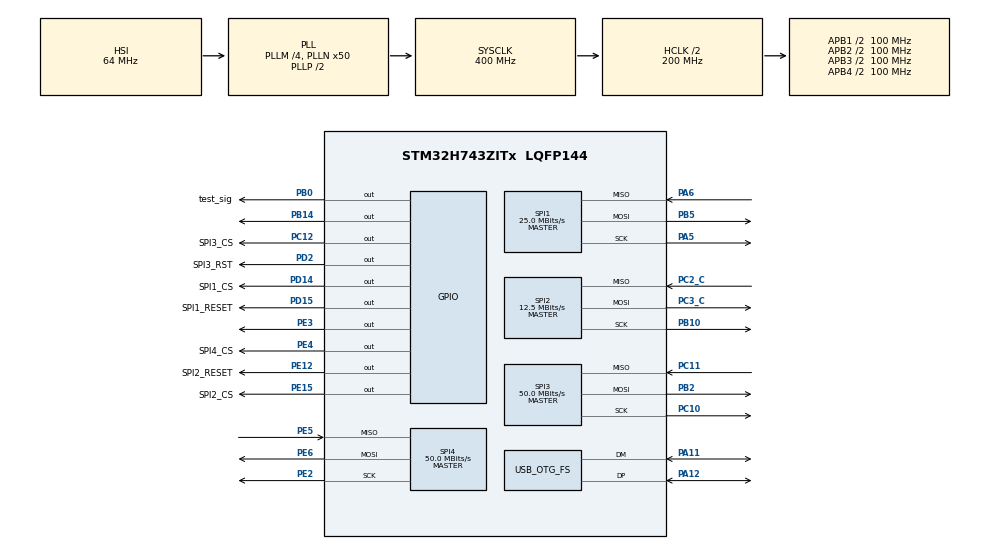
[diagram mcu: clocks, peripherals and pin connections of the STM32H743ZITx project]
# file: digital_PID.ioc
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Mcu.Family=STM32H7
Mcu.Name=STM32H743ZITx
Mcu.Package=LQFP144
NVIC.OTG_FS_IRQn=true\:0\:0\:false\:false\:true\:false\:true
NVIC.PriorityGroup=NVIC_PRIORITYGROUP_4
NVIC.SPI2_IRQn=true\:0\:0\:false\:false\:true\:true\:true
NVIC.TIM16_IRQn=true\:0\:0\:false\:false\:true\:true\:true
PA11.Mode=Device_Only
PA11.Signal=USB_OTG_FS_DM
PA12.Mode=Device_Only
PA12.Signal=USB_OTG_FS_DP
PA5.Mode=Full_Duplex_Master
PA5.Signal=SPI1_SCK
PA6.Mode=Full_Duplex_Master
PA6.Signal=SPI1_MISO
PB0.GPIO_Label=test_sig
PB0.GPIO_Speed=GPIO_SPEED_FREQ_VERY_HIGH
PB0.Signal=GPIO_Output
PB10.Mode=Full_Duplex_Master
PB10.Signal=SPI2_SCK
PB14.Signal=GPIO_Output
PB2.Mode=Full_Duplex_Master
PB2.Signal=SPI3_MOSI
PB5.Mode=Full_Duplex_Master
PB5.Signal=SPI1_MOSI
PC10.Mode=Full_Duplex_Master
PC10.Signal=SPI3_SCK
PC11.Mode=Full_Duplex_Master
PC11.Signal=SPI3_MISO
PC12.GPIO_Label=SPI3_CS
PC12.Signal=GPIO_Output
PC2_C.Mode=Full_Duplex_Master
PC2_C.Signal=SPI2_MISO
PC3_C.Mode=Full_Duplex_Master
PC3_C.Signal=SPI2_MOSI
PD14.GPIO_Label=SPI1_CS
PD14.GPIO_Speed=GPIO_SPEED_FREQ_VERY_HIGH
PD14.Signal=GPIO_Output
PD15.GPIO_Label=SPI1_RESET
PD15.Signal=GPIO_Output
PD2.GPIO_Label=SPI3_RST
PD2.Signal=GPIO_Output
PE12.GPIO_Label=SPI2_RESET
PE12.Signal=GPIO_Output
PE15.GPIO_Label=SPI2_CS
PE15.GPIO_Speed=GPIO_SPEED_FREQ_VERY_HIGH
PE15.Signal=GPIO_Output
PE2.Mode=Full_Duplex_Master
PE2.Signal=SPI4_SCK
PE3.Signal=GPIO_Output
PE4.GPIO_Label=SPI4_CS
PE4.Signal=GPIO_Output
PE5.Mode=Full_Duplex_Master
PE5.Signal=SPI4_MISO
PE6.Mode=Full_Duplex_Master
PE6.Signal=SPI4_MOSI
PH0-OSC_IN\ (PH0).Mode=HSE-External-Clock-Source
PH0-OSC_IN\ (PH0).Signal=RCC_OSC_IN
ProjectManager.HeapSize=0x200
ProjectManager.StackSize=0x400
ProjectManager.TargetToolchain=STM32CubeIDE
RCC.ADCFreq_Value=129000000
RCC.APB1Freq_Value=100000000
RCC.APB2Freq_Value=100000000
RCC.APB3Freq_Value=100000000
RCC.APB4Freq_Value=100000000
RCC.CortexFreq_Value=400000000
RCC.D1PPRE=RCC_APB3_DIV2
RCC.D2PPRE1=RCC_APB1_DIV2
RCC.D2PPRE2=RCC_APB2_DIV2
RCC.D3PPRE=RCC_APB4_DIV2
RCC.DIVM1=4
RCC.DIVN1=50
RCC.HCLKFreq_Value=200000000
RCC.HPRE=RCC_HCLK_DIV2
RCC.PLL2FRACN=0
RCC.PLL3FRACN=0
RCC.PLLFRACN=0
RCC.SYSCLKFreq_VALUE=400000000
RCC.SYSCLKSource=RCC_SYSCLKSOURCE_PLLCLK
RCC.USBCLockSelection=RCC_USBCLKSOURCE_HSI48
RCC.USBFreq_Value=48000000
SPI1.BaudRatePrescaler=SPI_BAUDRATEPRESCALER_16
SPI1.CRCCalculation=SPI_CRCCALCULATION_DISABLE
SPI1.CalculateBaudRate=25.0 MBits/s
SPI1.DataSize=SPI_DATASIZE_32BIT
SPI1.Direction=SPI_DIRECTION_2LINES
SPI1.Mode=SPI_MODE_MASTER
SPI1.VirtualType=VM_MASTER
SPI2.BaudRatePrescaler=SPI_BAUDRATEPRESCALER_32
SPI2.CLKPhase=SPI_PHASE_2EDGE
SPI2.CalculateBaudRate=12.5 MBits/s
SPI2.DataSize=SPI_DATASIZE_20BIT
SPI2.Direction=SPI_DIRECTION_2LINES
SPI2.FifoThreshold=SPI_FIFO_THRESHOLD_01DATA
SPI2.Mode=SPI_MODE_MASTER
SPI2.VirtualType=VM_MASTER
SPI3.BaudRatePrescaler=SPI_BAUDRATEPRESCALER_8
SPI3.CalculateBaudRate=50.0 MBits/s
SPI3.Direction=SPI_DIRECTION_2LINES
SPI3.Mode=SPI_MODE_MASTER
SPI3.VirtualType=VM_MASTER
SPI4.CalculateBaudRate=50.0 MBits/s
SPI4.DataSize=SPI_DATASIZE_8BIT
SPI4.Direction=SPI_DIRECTION_2LINES
SPI4.Mode=SPI_MODE_MASTER
SPI4.VirtualType=VM_MASTER
TIM16.Period=2000
USB_DEVICE.APP_RX_DATA_SIZE-CDC_FS=2048
USB_DEVICE.APP_TX_DATA_SIZE-CDC_FS=2048
USB_DEVICE.CLASS_NAME_FS=CDC
USB_DEVICE.MANUFACTURER_STRING-CDC_FS=ChiHuan
USB_DEVICE.PID_CDC_FS=12345
USB_DEVICE.PRODUCT_STRING_CDC_FS=Digital PID testboard 1
USB_DEVICE.USBD_MAX_STR_DESC_SIZ-CDC_FS=1024
USB_DEVICE.VID-CDC_FS=1234
USB_DEVICE.VirtualMode-CDC_FS=Cdc
USB_DEVICE.VirtualModeFS=Cdc_FS
USB_OTG_FS.VirtualMode=Device_Only
VP_TIM16_VS_ClockSourceINT.Mode=Enable_Timer
VP_TIM1_VS_ClockSourceINT.Mode=Internal
VP_USB_DEVICE_VS_USB_DEVICE_CDC_FS.Mode=CDC_FS
board=custom

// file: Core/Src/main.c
/* USER CODE BEGIN Header */
/**
  ******************************************************************************
  * @file           : main.c
  * @brief          : Main program body
  ******************************************************************************
  * @attention
  *
  * <h2><center>&copy; Copyright (c) 2020 STMicroelectronics.
  * All rights reserved.</center></h2>
  *
  * This software component is licensed by ST under BSD 3-Clause license,
  * the "License"; You may not use this file except in compliance with the
  * License. You may obtain a copy of the License at:
  *                        opensource.org/licenses/BSD-3-Clause
  *
  ******************************************************************************
  */
/* USER CODE END Header */
#include "main.h"
#include "usb_device.h"

/* USER CODE BEGIN PTD */
  typedef enum {
    WriteSpan_A= 0x00<<8|0X20,//0000 0000 0010 0000
	WriteSpan_B = 0x00 << 8 |0x22, //0000 0000 0010 0010
	WriteSpan_AB = 0x00 << 8 | 0x2E, // 0000 0000 0010 1110
	WriteCode_A = 0x00 <<8 | 0x30, // 0000 0000 0011 0000
	WriteCode_B = 0x00 <<8 |0x32, // 0000 0000 0011 0010
	WriteCode_AB = 0x00 << 8 | 0x3E, //0000 0000 0011 1110
	Update_A = 0x00 << 8 | 0x40, //0000 0000 0100 0000
	Update_B = 0x00 << 8 | 0x42, //0000 0000 0100 0010
	Update_AB = 0x00 << 8 | 0x5E, //0000 0000 0101 1110
	WriteSpan_Update_A = 0x00 << 8 | 0x60, //0000 0000 0110 0000
	WriteSpan_Update_B = 0x00 << 8 | 0x62, //0000 0000 0110 0010
	WriteCode_Update_A = 0x00 << 8 | 0x70, //0000 0000 0111 0000
	WriteCode_Update_B = 0x00 << 8 | 0x72, //0000 0000 0111 0010
	WriteSpan_A_Update_AB = 0x00 << 8 | 0x80, //0000 0000 1000 0000
	WriteSpan_B_Update_AB = 0x00 << 8 | 0x82, //0000 0000 1000 0010
	WriteCode_A_Update_AB = 0x00 << 8 | 0x90, //0000 0000 1001 0000
	WriteCode_B_Update_AB = 0x00 << 8 | 0x92, //0000 0000 1001 0010
	ReadInputSpan_A = 0x00 << 8 | 0xA0, //0000 0000 1010 0000
	ReadInputSpan_B = 0x00 << 8 | 0xA2, //0000 0000 1010 0000
	ReadInputCode_A = 0x00 << 8 | 0xB0, //0000 0000 1011 0000
	ReadInputCode_B = 0x00 << 8 | 0xB2, //0000 0000 1011 0010
	ReadDAC_Span_A = 0x00 << 8 | 0xC0, //0000 0000 1100 0000
	ReadDAC_Span_B = 0x00 << 8 | 0xC2, //0000 0000 1100 0010
	ReadDAC_Code_A = 0x00 << 8 | 0xD0, //0000 0000 1100 0000
	ReadDAC_Code_B = 0x00 << 8 | 0xD2 //0000 0000 1100 0000
  } CommandCodes_LTC2752_16bits;
/* USER CODE END PTD */

/* USER CODE BEGIN PD */
  /*---------------------------------------------------------------------*/
  /*  USB SM def                                                    */
  /*---------------------------------------------------------------------*/
#define DAC_MODEL  2758 // OR 2752. 2758:18bit 2752: 16bit
#define SET_OUTPUT_VOLTAGE_1              0x01U
#define SET_OUTPUT_VOLTAGE_2              0x02U

#define SET_SPAN_1						0x03U
#define SET_SPAN_2						0x04U

#define READ_DAC1_REGIS					0X05U
#define READ_DAC2_REGIS					0X06U

#define READ_ADC1					0X07U
#define READ_ADC2					0X09U

#define TRANX_ADC_1_BUFFER					0X0AU

#define TRANX_PID_1_CTRL				0X1AU
#define TRANX_PID_2_CTRL				0X2AU

#define SET_P_1 				0x0CU
#define SET_I_1 				0x0DU
#define SET_D_1 				0x0EU
#define SET_SETPOINT_1 				0x0FU

#define SET_P_2 				0x3CU
#define SET_I_2 				0x3DU
#define SET_D_2 				0x3EU
#define SET_SETPOINT_2 				0x3FU

#define START_PID              0xFFU
#define STOP_PID              0xAFU

#define SM_INQUIRE              0xA3

#define TOGGLE_LEDS_TEST 0xA4

#define MAX_ADC_READ 51200
#define MAX_USB_TX 512
#define MAX_BUFF_CTRL_PID 500
/* USER CODE END PD */

SPI_HandleTypeDef hspi1;
SPI_HandleTypeDef hspi2;
SPI_HandleTypeDef hspi3;
SPI_HandleTypeDef hspi4;

TIM_HandleTypeDef htim1;
TIM_HandleTypeDef htim16;

/* USER CODE BEGIN PV */
uint32_t pTxData[4]={WriteCode_Update_A<<16|0x0000,WriteCode_Update_A<<16|0x4000,WriteCode_Update_A<<16|0x7FFF,WriteCode_Update_A<<16|0xFFFF};
uint32_t pRxData[1]={0x00};

uint32_t DAC_command=0x0000;
uint32_t ADC_Data[1]={0x00};//to store 1 value of ADC

uint32_t ADC_1_Data_DB[MAX_ADC_READ];// DB to store ADC 1
uint32_t PID_1_Ctrl_DB[MAX_BUFF_CTRL_PID];// DB to store ADC AND DAC DURING PID 1

uint32_t ADC_2_Data_DB[MAX_ADC_READ];// DB to store ADC 2
uint32_t PID_2_Ctrl_DB[MAX_BUFF_CTRL_PID];// DB to store ADC AND DAC DURING PID 2

//uint32_t ADC_Data_DB_USB[50];// DB to store ADC to transfer during PID
uint32_t DAC_Data_DB[MAX_BUFF_CTRL_PID];// DB to store ADC to transfer during PID

uint16_t Size=1;// size of SPI read
uint8_t timer_mark=0;

uint8_t USB_RX_Buf[10];

/*PID related params*/
uint8_t num_pid_loop=500;
float kp=1.0;
float ki=0.0;
float kd=0.0;

float tpid= 0.00001158;
float one_over_tpid=86355.8;

float k1;
float e;//e(k) current error
float e1; //e(k-1) previous error
float u=0.0;
float delta_u=0.0;
float setpoint_1=0.0;
float setpoint_2 =0.0;

float deri=0;
float integral=0;

//////////////////////

float set_DAC=0.0;
float adc_f=0.0; // float value of adc
float adc_f_2=0.0;
float dac_f=0.0; // float value of dac
float voltage_tosend=0.0; // float value of dac

uint32_t dac_set=0x00; //binary
uint32_t dac_send=0x00;

/*ADC and DAC conversion formula*/
float adc_conv_f=5.0F/2097150.0F;

float dac_conv_16bit = 65535.0F/5.0F;//for 16bit DAC
float dac_conv_18bit = 262143.0F/5.0F;//for 18bit DAC
float dac_conv = 262143.0F/5.0F;

//State machine
uint32_t sm=0;
uint32_t cmd_values=0;
uint8_t cmd_value_1=0;
uint8_t cmd_value_2=0;
uint8_t cmd_value_3=0;
uint8_t cmd_value_4=0;

//serial num
uint32_t sernum=1;

//for troubleshooting
float Vtosend[4]={0.0,0.1,0.2,0.3};
float temp=0.0;
float Vset=0.0;
/* USER CODE END PV */

void SystemClock_Config(void);
static void MX_GPIO_Init(void);
static void MX_SPI1_Init(void);
static void MX_SPI2_Init(void);
static void MX_SPI3_Init(void);
static void MX_SPI4_Init(void);
static void MX_TIM1_Init(void);
static void MX_TIM16_Init(void);
/* USER CODE BEGIN PFP */
HAL_StatusTypeDef HAL_SPI_TransmitReceive_HM(SPI_HandleTypeDef *hspi, uint8_t *pTxData, uint8_t *pRxData, uint16_t Size,
                                          uint32_t Timeout);
//original close transfer
static void SPI_CloseTransfer(SPI_HandleTypeDef *hspi);

//original spi wait on flag
static HAL_StatusTypeDef SPI_WaitOnFlagUntilTimeout(SPI_HandleTypeDef *hspi, uint32_t Flag, FlagStatus Status,
                                                    uint32_t Tickstart, uint32_t Timeout);

//configure for 16bit DAC
HAL_StatusTypeDef HAL_SPI1_TransmitReceive_HM_fast(SPI_HandleTypeDef *hspi, uint8_t *pTxData, uint8_t *pRxData, uint16_t Size);

//configure for LTC2377
HAL_StatusTypeDef ADC_SPI(SPI_HandleTypeDef *hspi, uint8_t *pTxData, uint32_t *pRxData, uint16_t Size);

void SPI_Init(SPI_HandleTypeDef *hspi,uint16_t Size);// to initialize SPI
void SET_VOLT_DAC_1(float voltage);// set dac output
void SET_VOLT_DAC_1_bits(uint32_t send_dac_set);// set dac output with input as a bit strings
void SET_SPAN_DAC_1(uint8_t setspan);
void SET_VOLT_DAC_2(float voltage);// set dac output
void SET_VOLT_DAC_2_bits(uint32_t send_dac_set);// set dac output with input as a bit strings
void SET_SPAN_DAC_2(uint8_t setspan);

void set_P(uint8_t* b1);
void set_I(uint8_t* b1);
void set_D(uint8_t* b1);

void read_ADC_1(uint32_t num_run);
void tranx_ADC_1_buffer(uint32_t start_index, uint32_t num_read);//USB transfer of ADC_1_Data_DB
void USB_comm_handle(uint8_t* Buf, uint32_t *Len);// handle USB commands received
void return_sm();
/* USER CODE END PFP */

/* USER CODE BEGIN 0 */
void USB_comm_handle(uint8_t* Buf, uint32_t *Len)// handle USB commands received
{
	//HAL_GPIO_TogglePin(GPIOB, GPIO_PIN_0);
	cmd_values=0;
	cmd_value_1=Buf[1];
	cmd_value_2=Buf[2];
	cmd_value_3=Buf[3];
	cmd_value_4=Buf[4];

	sm=Buf[0];
	if (*Len>1)
		{
		cmd_values=cmd_value_1  |   cmd_value_2<<8  |  cmd_value_3<<16;
		}

	//CDC_Transmit_FS(&cmd_values, 6);
}
void SPI_Init(SPI_HandleTypeDef *hspi, uint16_t Size)
{
	/* Init hspi1 */
	__HAL_LOCK(hspi);
	(hspi)->ErrorCode   = HAL_SPI_ERROR_NONE;
	hspi->TxXferCount = Size;
	hspi->RxXferCount = Size;

	#if defined (__GNUC__)
	__IO uint16_t *ptxdr_16bits = (__IO uint16_t *)(&( (hspi)->Instance->TXDR));
	__IO uint16_t *prxdr_16bits = (__IO uint16_t *)(&( (hspi)->Instance->RXDR));
	#endif /* __GNUC__ */
	/*Init field not used in handle to zero */
	(hspi)->RxISR       = NULL;
	(hspi)->TxISR       = NULL;
	MODIFY_REG((hspi)->Instance->CR2, SPI_CR2_TSIZE, Size);
	__HAL_SPI_ENABLE(hspi);
}
HAL_StatusTypeDef HAL_SPI_TransmitReceive_HM(SPI_HandleTypeDef *hspi, uint8_t *pTxData, uint8_t *pRxData, uint16_t Size,
                                          uint32_t Timeout)
{
  HAL_SPI_StateTypeDef tmp_state;
  HAL_StatusTypeDef errorcode = HAL_OK;
#if defined (__GNUC__)
  __IO uint16_t *ptxdr_16bits = (__IO uint16_t *)(&(hspi->Instance->TXDR));
  __IO uint16_t *prxdr_16bits = (__IO uint16_t *)(&(hspi->Instance->RXDR));
#endif /* __GNUC__ */

  uint32_t   tickstart;
  uint32_t   tmp_mode;
  uint16_t   initial_TxXferCount;
  uint16_t   initial_RxXferCount;

  /* Check Direction parameter */
  //assert_param(IS_SPI_DIRECTION_2LINES(hspi->Init.Direction));

  /* Process Locked */
  //__HAL_LOCK(hspi);

  /* Init tickstart for timeout management*/
  tickstart = HAL_GetTick();

  initial_TxXferCount = Size;
  initial_RxXferCount = Size;
  tmp_state           = hspi->State;
  tmp_mode            = hspi->Init.Mode;

  if (!((tmp_state == HAL_SPI_STATE_READY) || \
        ((tmp_mode == SPI_MODE_MASTER) && (hspi->Init.Direction == SPI_DIRECTION_2LINES) && (tmp_state == HAL_SPI_STATE_BUSY_RX))))
  {
    errorcode = HAL_BUSY;
    __HAL_UNLOCK(hspi);
    return errorcode;
  }

  if ((pTxData == NULL) || (pRxData == NULL) || (Size == 0UL))
  {
    errorcode = HAL_ERROR;
    __HAL_UNLOCK(hspi);
    return errorcode;
  }

  /* Don't overwrite in case of HAL_SPI_STATE_BUSY_RX */
  if (hspi->State != HAL_SPI_STATE_BUSY_RX)
  {
    hspi->State = HAL_SPI_STATE_BUSY_TX_RX;
  }

  /* Set the transaction information */
  hspi->ErrorCode   = HAL_SPI_ERROR_NONE;
  hspi->pRxBuffPtr  = (uint8_t *)pRxData;
  hspi->RxXferCount = Size;
  hspi->RxXferSize  = Size;
  hspi->pTxBuffPtr  = (uint8_t *)pTxData;
  hspi->TxXferCount = Size;
  hspi->TxXferSize  = Size;

  /*Init field not used in handle to zero */
  hspi->RxISR       = NULL;
  hspi->TxISR       = NULL;

  /* Set the number of data at current transfer */
  MODIFY_REG(hspi->Instance->CR2, SPI_CR2_TSIZE, Size);

  __HAL_SPI_ENABLE(hspi);

  if (hspi->Init.Mode == SPI_MODE_MASTER)
  {
    /* Master transfer start */
    SET_BIT(hspi->Instance->CR1, SPI_CR1_CSTART);
  }

  /* Transmit and Receive data in 32 Bit mode */
  //if (hspi->Init.DataSize > SPI_DATASIZE_16BIT)

    while ((initial_TxXferCount > 0UL) || (initial_RxXferCount > 0UL))
    {
      /* Check TXP flag */
      if ((__HAL_SPI_GET_FLAG(hspi, SPI_FLAG_TXP)) && (initial_TxXferCount > 0UL))
      {
        *((__IO uint32_t *)&hspi->Instance->TXDR) = *((uint32_t *)hspi->pTxBuffPtr);
        hspi->pTxBuffPtr += sizeof(uint32_t);
        hspi->TxXferCount --;
        initial_TxXferCount = hspi->TxXferCount;
      }

      /* Check RXWNE/EOT flag */
      if (((hspi->Instance->SR & (SPI_FLAG_RXWNE | SPI_FLAG_EOT)) != 0UL) && (initial_RxXferCount > 0UL))
      {
        *((uint32_t *)hspi->pRxBuffPtr) = *((__IO uint32_t *)&hspi->Instance->RXDR);
        hspi->pRxBuffPtr += sizeof(uint32_t);
        hspi->RxXferCount --;
        initial_RxXferCount = hspi->RxXferCount;
      }

      /* Timeout management */
      if ((((HAL_GetTick() - tickstart) >=  Timeout) && (Timeout != HAL_MAX_DELAY)) || (Timeout == 0U))
      {
        /* Call standard close procedure with error check */
        SPI_CloseTransfer(hspi);

        /* Process Unlocked */
        __HAL_UNLOCK(hspi);

        SET_BIT(hspi->ErrorCode, HAL_SPI_ERROR_TIMEOUT);
        hspi->State = HAL_SPI_STATE_READY;
        return HAL_ERROR;
      }
    }

  /* Transmit and Receive data in 16 Bit mode */

  /* Transmit and Receive data in 8 Bit mode */

      /* Timeout management */
      if ((((HAL_GetTick() - tickstart) >=  Timeout) && (Timeout != HAL_MAX_DELAY)) || (Timeout == 0U))
      {
        /* Call standard close procedure with error check */
        SPI_CloseTransfer(hspi);

        /* Process Unlocked */
        __HAL_UNLOCK(hspi);

        SET_BIT(hspi->ErrorCode, HAL_SPI_ERROR_TIMEOUT);
        hspi->State = HAL_SPI_STATE_READY;
        return HAL_ERROR;
      }

  /* Wait for Tx/Rx (and CRC) data to be sent/received */
  if (SPI_WaitOnFlagUntilTimeout(hspi, SPI_FLAG_EOT, RESET, tickstart, Timeout) != HAL_OK)
  {
    SET_BIT(hspi->ErrorCode, HAL_SPI_ERROR_FLAG);
  }

  /* Call standard close procedure with error check */
  SPI_CloseTransfer(hspi);

  /* Process Unlocked */
  __HAL_UNLOCK(hspi);

  hspi->State = HAL_SPI_STATE_READY;

  if (hspi->ErrorCode != HAL_SPI_ERROR_NONE)
  {
    return HAL_ERROR;
  }
  return errorcode;
}

HAL_StatusTypeDef HAL_SPI1_TransmitReceive_HM_fast(SPI_HandleTypeDef *hspi, uint8_t *pTxData, uint8_t *pRxData, uint16_t Size)

{

	/*Turn on CSbar pin*/

	GPIOD->ODR ^= (1 << 14);

	//hspi->TxXferCount = Size;
	//hspi->RxXferCount = Size;
	(hspi)->pRxBuffPtr  = (uint8_t *)pRxData;
	(hspi)->pTxBuffPtr  = (uint8_t *)pTxData;
	HAL_StatusTypeDef errorcode = HAL_OK;

	//if (hspi->Init.Mode == SPI_MODE_MASTER)
	//{
	/* Master transfer start */
	SET_BIT(hspi->Instance->CR1, SPI_CR1_CSTART);
	//}

  /* Transmit and Receive data in 32 Bit mode */
      /* Check TXP flag */
	if ((__HAL_SPI_GET_FLAG(hspi, SPI_FLAG_TXP)))
	{
	*((__IO uint32_t *)&hspi->Instance->TXDR) = *((uint32_t *)hspi->pTxBuffPtr);
	}

	/* Check RXWNE/EOT flag */
	//if (    (hspi->Instance->SR & (SPI_FLAG_RXWNE | SPI_FLAG_EOT)) != 0UL)
	//{
	*((uint32_t *)hspi->pRxBuffPtr) = *((__IO uint32_t *)&hspi->Instance->RXDR);
	//}
  /* Transmit and Receive data in 16 Bit mode */

  /* Transmit and Receive data in 8 Bit mode */

  /* Timeout management */

  /* Wait for Tx/Rx (and CRC) data to be sent/received */
      while ((__HAL_SPI_GET_FLAG(hspi,SPI_FLAG_EOT) ? SET : RESET) == RESET)
      {
      }

  	GPIOD->ODR ^= (1 << 14);
  /* Call standard close procedure with error check */
  //SPI_CloseTransfer(hspi);
  __HAL_SPI_CLEAR_EOTFLAG(hspi);
  __HAL_SPI_CLEAR_TXTFFLAG(hspi);
  /* Process Unlocked */
  //__HAL_UNLOCK(hspi);

  hspi->State = HAL_SPI_STATE_READY;

  if (hspi->ErrorCode != HAL_SPI_ERROR_NONE)
  {
    return HAL_ERROR;
  }
  return errorcode;
}
HAL_StatusTypeDef ADC_SPI(SPI_HandleTypeDef *hspi, uint8_t *pTxData, uint32_t *pRxData, uint16_t Size)

{

	/*Turn on Conversion pin*/

	GPIOE->ODR ^= (1 << 15);
	GPIOE->ODR ^= (0 << 15);
	GPIOE->ODR ^= (0 << 15);
	GPIOE->ODR ^= (1 << 15);

	GPIOE->ODR ^= (0 << 15);
	GPIOE->ODR ^= (0 << 15);
	GPIOE->ODR ^= (0 << 15);

	// time separation between CSbar and SCK maybe must be larger 1.5us

	//hspi->TxXferCount = Size;
	//hspi->RxXferCount = Size;
	(hspi)->pRxBuffPtr  = pRxData;
	(hspi)->pTxBuffPtr  = (uint8_t *)pTxData;
	HAL_StatusTypeDef errorcode = HAL_OK;

	if (hspi->Init.Mode == SPI_MODE_MASTER)
	{
	/* Master transfer start */
	SET_BIT(hspi->Instance->CR1, SPI_CR1_CSTART);
	}

  /* Transmit and Receive data in 32 Bit mode */
      /* Check TXP flag */
	if ((__HAL_SPI_GET_FLAG(hspi, SPI_FLAG_TXP)))
	{
	*((__IO uint32_t *)&hspi->Instance->TXDR) = *((uint32_t *)hspi->pTxBuffPtr);
	}

	/* Check RXWNE/EOT flag */
	//if (    (hspi->Instance->SR & (SPI_FLAG_RXWNE | SPI_FLAG_EOT)) != 0UL)
	//{
	//*((uint32_t *)hspi->pRxBuffPtr) = *((__IO uint32_t *)&hspi->Instance->RXDR);
	*(pRxData) = *((__IO uint32_t *)&hspi->Instance->RXDR);

	//}
  /* Transmit and Receive data in 16 Bit mode */

  /* Transmit and Receive data in 8 Bit mode */

  /* Timeout management */

  /* Wait for Tx/Rx (and CRC) data to be sent/received */
      while ((__HAL_SPI_GET_FLAG(hspi,SPI_FLAG_EOT) ? SET : RESET) == RESET)
      {
      }

  /* Call standard close procedure with error check */
  //SPI_CloseTransfer(hspi);
  __HAL_SPI_CLEAR_EOTFLAG(hspi);
  __HAL_SPI_CLEAR_TXTFFLAG(hspi);
  /* Process Unlocked */
  __HAL_UNLOCK(hspi);

  hspi->State = HAL_SPI_STATE_READY;
  //if (hspi->ErrorCode != HAL_SPI_ERROR_NONE)
  //{
  //  return HAL_ERROR;
  //}
  return errorcode;
}
static HAL_StatusTypeDef SPI_WaitOnFlagUntilTimeout(SPI_HandleTypeDef *hspi, uint32_t Flag, FlagStatus Status,
                                                    uint32_t Tickstart, uint32_t Timeout)
{
  /* Wait until flag is set */
  while ((__HAL_SPI_GET_FLAG(hspi, Flag) ? SET : RESET) == Status)
  {
    /* Check for the Timeout */
    if ((((HAL_GetTick() - Tickstart) >=  Timeout) && (Timeout != HAL_MAX_DELAY)) || (Timeout == 0U))
    {
      return HAL_TIMEOUT;
    }
  }
  return HAL_OK;
}

HAL_StatusTypeDef ADC_SPI_wo_CNV(SPI_HandleTypeDef *hspi, uint8_t *pTxData, uint32_t *pRxData, uint16_t Size)

{

	/*Turn on Conversion pin*/

	// time separation between CSbar and SCK maybe must be larger 1.5us

	//hspi->TxXferCount = Size;
	//hspi->RxXferCount = Size;
	(hspi)->pRxBuffPtr  = pRxData;
	(hspi)->pTxBuffPtr  = (uint8_t *)pTxData;
	HAL_StatusTypeDef errorcode = HAL_OK;

	if (hspi->Init.Mode == SPI_MODE_MASTER)
	{
	/* Master transfer start */
	SET_BIT(hspi->Instance->CR1, SPI_CR1_CSTART);
	}

  /* Transmit and Receive data in 32 Bit mode */
      /* Check TXP flag */
	if ((__HAL_SPI_GET_FLAG(hspi, SPI_FLAG_TXP)))
	{
	*((__IO uint32_t *)&hspi->Instance->TXDR) = *((uint32_t *)hspi->pTxBuffPtr);
	}

	/* Check RXWNE/EOT flag */
	//if (    (hspi->Instance->SR & (SPI_FLAG_RXWNE | SPI_FLAG_EOT)) != 0UL)
	//{
	//*((uint32_t *)hspi->pRxBuffPtr) = *((__IO uint32_t *)&hspi->Instance->RXDR);
	*(pRxData) = *((__IO uint32_t *)&hspi->Instance->RXDR);

	//}
  /* Transmit and Receive data in 16 Bit mode */

  /* Transmit and Receive data in 8 Bit mode */

  /* Timeout management */

  /* Wait for Tx/Rx (and CRC) data to be sent/received */
      while ((__HAL_SPI_GET_FLAG(hspi,SPI_FLAG_EOT) ? SET : RESET) == RESET)
      {
      }

  /* Call standard close procedure with error check */
  //SPI_CloseTransfer(hspi);
  __HAL_SPI_CLEAR_EOTFLAG(hspi);
  __HAL_SPI_CLEAR_TXTFFLAG(hspi);
  /* Process Unlocked */
  __HAL_UNLOCK(hspi);

  hspi->State = HAL_SPI_STATE_READY;
  //if (hspi->ErrorCode != HAL_SPI_ERROR_NONE)
  //{
  //  return HAL_ERROR;
  //}
  return errorcode;
}

static void SPI_CloseTransfer(SPI_HandleTypeDef *hspi)
{
  uint32_t itflag = hspi->Instance->SR;

  __HAL_SPI_CLEAR_EOTFLAG(hspi);
  __HAL_SPI_CLEAR_TXTFFLAG(hspi);

  /* Disable SPI peripheral */
  __HAL_SPI_DISABLE(hspi);

  /* Disable ITs */
  __HAL_SPI_DISABLE_IT(hspi, (SPI_IT_EOT | SPI_IT_TXP | SPI_IT_RXP | SPI_IT_DXP | SPI_IT_UDR | SPI_IT_OVR | SPI_IT_FRE | SPI_IT_MODF));

  /* Disable Tx DMA Request */
  CLEAR_BIT(hspi->Instance->CFG1, SPI_CFG1_TXDMAEN | SPI_CFG1_RXDMAEN);

  /* Report UnderRun error for non RX Only communication */
  if (hspi->State != HAL_SPI_STATE_BUSY_RX)
  {
    if ((itflag & SPI_FLAG_UDR) != 0UL)
    {
      SET_BIT(hspi->ErrorCode, HAL_SPI_ERROR_UDR);
      __HAL_SPI_CLEAR_UDRFLAG(hspi);
    }
  }

  /* Report OverRun error for non TX Only communication */
  if (hspi->State != HAL_SPI_STATE_BUSY_TX)
  {
    if ((itflag & SPI_FLAG_OVR) != 0UL)
    {
      SET_BIT(hspi->ErrorCode, HAL_SPI_ERROR_OVR);
      __HAL_SPI_CLEAR_OVRFLAG(hspi);
    }

#if (USE_SPI_CRC != 0UL)
    /* Check if CRC error occurred */
    if (hspi->Init.CRCCalculation == SPI_CRCCALCULATION_ENABLE)
    {
      if ((itflag & SPI_FLAG_CRCERR) != 0UL)
      {
        SET_BIT(hspi->ErrorCode, HAL_SPI_ERROR_CRC);
        __HAL_SPI_CLEAR_CRCERRFLAG(hspi);
      }
    }
#endif /* USE_SPI_CRC */
  }

  /* SPI Mode Fault error interrupt occurred -------------------------------*/
  if ((itflag & SPI_FLAG_MODF) != 0UL)
  {
    SET_BIT(hspi->ErrorCode, HAL_SPI_ERROR_MODF);
    __HAL_SPI_CLEAR_MODFFLAG(hspi);
  }

  /* SPI Frame error interrupt occurred ------------------------------------*/
  if ((itflag & SPI_FLAG_FRE) != 0UL)
  {
    SET_BIT(hspi->ErrorCode, HAL_SPI_ERROR_FRE);
    __HAL_SPI_CLEAR_FREFLAG(hspi);
  }

  hspi->TxXferCount = (uint16_t)0UL;
  hspi->RxXferCount = (uint16_t)0UL;
}
void pulse_DAC()
{
	  /*pulse DAC*/
	uint8_t i=0;
	  for (i=0;i<=50;i++)
	  {
	  dac_f=1.0;
	  dac_set = (dac_f*dac_conv);
	  dac_send = WriteCode_Update_A<<16|dac_set;
	  HAL_SPI1_TransmitReceive_HM_fast(&hspi1, &dac_send, pRxData, 1);
	  }

	  for (i=0;i<=50;i++)
	  {
	  dac_f=0.5;
	  dac_set = (dac_f*dac_conv);
	  dac_send = WriteCode_Update_A<<16|dac_set;
	  HAL_SPI1_TransmitReceive_HM_fast(&hspi1, &dac_send, pRxData, 1);
	  }
}

void test_delay()
{
	uint8_t i=0;
	float Vset=0.0;
	for (i=0;i<=3;i++)
	  {
		dac_set = (Vtosend[i]*dac_conv);
		Vset=Vtosend[i];
		dac_send = WriteCode_Update_A<<16|dac_set;
		HAL_SPI1_TransmitReceive_HM_fast(&hspi1, &dac_send, pRxData, 1);
		ADC_SPI(&hspi2, &pTxData[0], &ADC_1_Data_DB[i], 1); // read ADC
		ADC_SPI(&hspi2, &pTxData[0], &ADC_1_Data_DB[i], 1); // read ADC
		adc_f = ADC_1_Data_DB[i]*adc_conv_f;
	  }
}

// test function
void test_delay_2()
{
	uint8_t i=0;

	for (i=0;i<=3;i++)
	  {
		dac_set = (Vtosend[i]*dac_conv);
		Vset=Vtosend[i];
		dac_send = WriteCode_Update_A<<16|dac_set;
		HAL_SPI1_TransmitReceive_HM_fast(&hspi1, &dac_send, pRxData, 1);

		GPIOE->ODR ^= (1 << 15);
		GPIOE->ODR ^= (0 << 15);
		GPIOE->ODR ^= (0 << 15);
		GPIOE->ODR ^= (1 << 15);

		GPIOE->ODR ^= (0 << 15);
		GPIOE->ODR ^= (0 << 15);
		GPIOE->ODR ^= (0 << 15);
		GPIOE->ODR ^= (0 << 15);
		GPIOE->ODR ^= (0 << 15);
		GPIOE->ODR ^= (0 << 15);
		GPIOE->ODR ^= (0 << 15);
		GPIOE->ODR ^= (0 << 15);
		GPIOE->ODR ^= (0 << 15);
		GPIOE->ODR ^= (0 << 15);
		GPIOE->ODR ^= (0 << 15);
		GPIOE->ODR ^= (0 << 15);
		GPIOE->ODR ^= (0 << 15);
		GPIOE->ODR ^= (0 << 15);
		GPIOE->ODR ^= (0 << 15);
		GPIOE->ODR ^= (0 << 15);
		GPIOE->ODR ^= (0 << 15);
		GPIOE->ODR ^= (0 << 15);
		GPIOE->ODR ^= (0 << 15);
		GPIOE->ODR ^= (0 << 15);
		GPIOE->ODR ^= (0 << 15);
		GPIOE->ODR ^= (0 << 15);
		GPIOE->ODR ^= (0 << 15);
		GPIOE->ODR ^= (0 << 15);
		GPIOE->ODR ^= (0 << 15);
		GPIOE->ODR ^= (0 << 15);
		GPIOE->ODR ^= (0 << 15);
		GPIOE->ODR ^= (0 << 15);
		GPIOE->ODR ^= (0 << 15);
		GPIOE->ODR ^= (0 << 15);
		GPIOE->ODR ^= (0 << 15);
		GPIOE->ODR ^= (0 << 15);
		GPIOE->ODR ^= (0 << 15);

		GPIOE->ODR ^= (1 << 15);
		GPIOE->ODR ^= (0 << 15);
		GPIOE->ODR ^= (0 << 15);
		GPIOE->ODR ^= (1 << 15);

		GPIOE->ODR ^= (0 << 15);
		GPIOE->ODR ^= (0 << 15);
		GPIOE->ODR ^= (0 << 15);
		GPIOE->ODR ^= (0 << 15);
		GPIOE->ODR ^= (0 << 15);
		GPIOE->ODR ^= (0 << 15);
		ADC_SPI_wo_CNV(&hspi2, &pTxData[0], &ADC_1_Data_DB[i], 1); // read ADC
		adc_f = ADC_1_Data_DB[i]*adc_conv_f;
		GPIOE->ODR ^= (0 << 15);
	  }
}

void set_P(uint8_t* b1)
{
	memcpy(&kp, b1, sizeof(kp));
	CDC_Transmit_FS(&kp, 4);

}

void set_I(uint8_t* b1)
{
	memcpy(&ki, b1, sizeof(ki));
	CDC_Transmit_FS(&ki, 4);

}

void set_D(uint8_t* b1)
{
	memcpy(&kd, b1, sizeof(kd));
	CDC_Transmit_FS(&kd, 4);

}

void set_setpoint1(uint8_t* b1)
{
	memcpy(&setpoint_1, b1, sizeof(setpoint_1));
	CDC_Transmit_FS(&setpoint_1, 4);

}

void set_setpoint2(uint8_t* b1)
{
	memcpy(&setpoint_2, b1, sizeof(setpoint_2));
	CDC_Transmit_FS(&setpoint_2, 4);

}

void PID()
{
	  /*PID cal*/
	  uint8_t i=0;

	  e=0.0;
	  e1=0.0;

	  u=0.0;

	  setpoint_1 = 0.0;

	  //GPIOB->ODR ^= (1 );
	  while(sm==START_PID)
	  {

		  __disable_irq();

		  for (i=0;i<num_pid_loop;i++)
		  {
			  GPIOB->ODR = (0 );
			  GPIOB->ODR = (1 );
			  GPIOB->ODR = (0 );

		  //HAL_SPI2_TransmitReceive_HM_fast(&hspi2, &pTxData[0], &ADC_1_Data_DB[i], 1); // read ADC
			 //HAL_SPI2_TransmitReceive_HM_fast(&hspi2, &pTxData[0], &ADC_1_Data_DB[i], 1); // read ADC

		  ADC_SPI(&hspi2, &pTxData[0], &ADC_1_Data_DB[i], 1); // read ADC
		  ADC_SPI(&hspi2, &pTxData[0], &ADC_1_Data_DB[i], 1); // read ADC

		  //adc_f=ADC_Data[0]/1048575.0F*5-5;
		  //// as for ltc2377 with singled-ended to differential config, adc measure 2*vin -5V.

		  adc_f = ADC_1_Data_DB[i]*adc_conv_f;

		  e = setpoint_1 - adc_f;//for pid

		  integral = integral + e*tpid;
		  deri = (e - e1)*one_over_tpid ;

		  u = kp*e + ki*integral +kd*deri;

		  //dac_f = u; // for pid

		  dac_f=adc_f*kp;

		  dac_set = (int)(dac_f*dac_conv); //ASSUME VOLT SPAN IS 0->5V FOR NOW

		  DAC_Data_DB[i] = dac_set;

		  dac_send = WriteCode_Update_A<<16|dac_set;
		  //GPIOB->ODR ^= (1 );
		  HAL_SPI1_TransmitReceive_HM_fast(&hspi1, &dac_send, pRxData, 1);

		  e1 = e;

		  GPIOB->ODR = (0 );
		  GPIOB->ODR = (1 );
		  GPIOB->ODR = (0 );
		  }

		  __enable_irq();
	  }

}

void stop_PID()
{

}

void dual_PID()
{

}

/*
void SET_VOLT_DAC_1(float voltage)
{

	dac_set = (voltage*dac_conv);
	dac_send = WriteCode_Update_A<<16|dac_set;
	//GPIOB->ODR ^= (1 );

	HAL_SPI1_TransmitReceive_HM_fast(&hspi1, &dac_send, pRxData, 1);
}
*/

void SET_VOLT_DAC_1(float voltage)
{

	dac_set = (voltage*dac_conv);
	//dac_send = WriteCode_Update_A<<16|dac_set;
	GPIOB->ODR ^= (1 );
	if (DAC_MODEL == 2752)
		{
			dac_send = WriteCode_Update_A<<16|dac_set;
		}
	else if (DAC_MODEL == 2758){
			dac_send = WriteCode_Update_A << 24 | dac_set<<6;
	}
	HAL_SPI1_TransmitReceive_HM_fast(&hspi1, &dac_send, pRxData, 1);

}

void SET_VOLT_DAC_1_bits(uint32_t send_dac_set)
{

	//GPIOB->ODR ^= (1 );
	if (DAC_MODEL == 2752)
		{
			dac_send = WriteCode_Update_A<<16|send_dac_set;
		}
	else if (DAC_MODEL == 2758){
			dac_send = WriteCode_Update_A << 24 | send_dac_set<<6;
	}
	HAL_SPI1_TransmitReceive_HM_fast(&hspi1, &dac_send, pRxData, 1);
}

void SET_SPAN_DAC_1(uint8_t setspan)
{
	if (DAC_MODEL == 2752)
		{
			DAC_command=WriteSpan_A<<16|setspan;
		}
	else if (DAC_MODEL == 2758){
		DAC_command=WriteSpan_A<<24| setspan << 8 ;
	}
	HAL_SPI1_TransmitReceive_HM_fast(&hspi1,&DAC_command, pRxData, 1);

}

void SET_VOLT_DAC_2(float voltage)
{

	dac_set = (voltage*dac_conv);
	//dac_send = WriteCode_Update_A<<16|dac_set;
	GPIOB->ODR ^= (1 );
	if (DAC_MODEL == 2752)
		{
			dac_send = WriteCode_Update_B<<16|dac_set;
		}
	else if (DAC_MODEL == 2758){
			dac_send = WriteCode_Update_B << 24 | dac_set<<6;
	}

	HAL_SPI1_TransmitReceive_HM_fast(&hspi1, &dac_send, pRxData, 1);
}

void SET_VOLT_DAC_2_bits(uint32_t send_dac_set)
{

	//GPIOB->ODR ^= (1 );
	if (DAC_MODEL == 2752)
		{
			dac_send = WriteCode_Update_B<<16|send_dac_set;
		}
	else if (DAC_MODEL == 2758){
			dac_send = WriteCode_Update_B << 24 | send_dac_set<<6;
	}
	HAL_SPI1_TransmitReceive_HM_fast(&hspi1, &dac_send, pRxData, 1);
}

void SET_SPAN_DAC_2(uint8_t setspan)
{
	if (DAC_MODEL == 2752)
		{
			DAC_command=WriteSpan_B<<16|setspan;
		}
	else if (DAC_MODEL == 2758){
		DAC_command=WriteSpan_B<<24| setspan << 8 ;
	}
	HAL_SPI1_TransmitReceive_HM_fast(&hspi1,&DAC_command, pRxData, 1);
}

void return_sm()
{
	CDC_Transmit_FS(sm, 4); //return sm
}

void read_ADC_1(uint32_t cmd_run)
{
	/*
	 * cmd_run: number of runs, must be multiples of MAX_USB_TX
	 */

	//GPIOB->ODR = (0 );
	//GPIOB->ODR = (1 );
	//GPIOB->ODR = (0 );
	int i=0;
	uint32_t num_run = cmd_run * MAX_USB_TX;

	for (i=0; i < num_run & i<= (MAX_ADC_READ);i++)
	{
	ADC_SPI(&hspi2, &pTxData[0], &ADC_1_Data_DB[i], 1); // read ADC
	}

	//GPIOB->ODR = (0 );
	//GPIOB->ODR = (1 );
	//GPIOB->ODR = (0 );
	for (i=0; i<(cmd_run);i++)
	{
		while (CDC_Transmit_FS(&ADC_1_Data_DB[i*MAX_USB_TX], 4*(MAX_USB_TX) )== USBD_BUSY ); //send read ADC values to PC

	}

}

void tranx_ADC_1_buffer(uint32_t start_index, uint32_t num_read)
{
	//GPIOB->ODR = (0 );
	//GPIOB->ODR = (1 );
	//GPIOB->ODR = (0 );
	//while (CDC_Transmit_FS(&ADC_1_Data_DB[start_index], 4*(num_read) )== USBD_BUSY );
	CDC_Transmit_FS(&ADC_1_Data_DB[start_index], 4*(num_read) );
	//GPIOB->ODR = (0 );
	//GPIOB->ODR = (1 );
	//GPIOB->ODR = (0 );
}

void tranx_PID_1_buffer(uint32_t start_index, uint32_t num_read)
{
	int i=0;
	GPIOB->ODR = (0 );
	GPIOB->ODR = (1 );
	GPIOB->ODR = (0 );
	for (i=0;i<num_read;i++)
	{
		PID_1_Ctrl_DB[i]=ADC_1_Data_DB[i];
		PID_1_Ctrl_DB[i+num_read] = DAC_Data_DB[i];
	}
	//while (CDC_Transmit_FS(&ADC_1_Data_DB[start_index], 4*(num_read) )== USBD_BUSY );
	CDC_Transmit_FS(&PID_1_Ctrl_DB[start_index], 4*2*(num_read) );

	GPIOB->ODR = (0 );
	GPIOB->ODR = (1 );
	GPIOB->ODR = (0 );
}

void toggle_test(uint32_t num_run)
{
	int i=0;

	for (i=0;i<num_run;i++)
	{
		GPIOB -> ODR = (0);
		GPIOB -> ODR = (1);
		GPIOB -> ODR = (0);
	}
}

void derivative()
{

	ADC_SPI(&hspi2, &pTxData[0], &ADC_1_Data_DB[0], 1); // read ADC
	ADC_SPI(&hspi2, &pTxData[0], &ADC_1_Data_DB[1], 1);
	//HAL_SPI2_TransmitReceive_HM_fast(&hspi2, &pTxData[0], &ADC_Data[0], 1);

	adc_f = ADC_1_Data_DB[0]*adc_conv_f;
	adc_f_2= ADC_1_Data_DB[1]*adc_conv_f;

	//dac_f=(adc_f - adc_f_2)*134048.26F;
	dac_f=10.0*(adc_f - adc_f_2)+1.0;

	dac_set = (dac_f*dac_conv);
	dac_send = WriteCode_Update_A<<16|dac_set;
	//GPIOB->ODR ^= (1 );
	HAL_SPI1_TransmitReceive_HM_fast(&hspi1, &dac_send, pRxData, 1);

}
/* USER CODE END 0 */

int main(void)
{

  /* MCU Configuration--------------------------------------------------------*/

  /* Reset of all peripherals, Initializes the Flash interface and the Systick. */
  HAL_Init();

  /* Configure the system clock */
  SystemClock_Config();

  /* Initialize all configured peripherals */
  MX_GPIO_Init();
  MX_SPI1_Init();
  MX_SPI2_Init();
  MX_SPI3_Init();
  MX_SPI4_Init();
  MX_TIM1_Init();
  MX_TIM16_Init();
  MX_USB_DEVICE_Init();
  /* USER CODE BEGIN 2 */
  SPI_Init(&hspi1,Size);//dac
  GPIOD->ODR |= (1 << 14);// set csbar high
  //DAC_command=WriteSpan_A<<16|0x0000;// set span to 0 to 5V
  //
  HAL_SPI1_TransmitReceive_HM_fast(&hspi1,&DAC_command, pRxData, 1);

  SET_SPAN_DAC_1(0);

  SET_VOLT_DAC_1(0.0);

  SPI_Init(&hspi2,Size);//adc

  /* Infinite loop */
  /* USER CODE BEGIN WHILE */

  //sm = SET_OUTPUT_VOLTAGE_1;

  while (1)
  {
	  //SET_VOLT_DAC_1(3.0);
	  //ADC_SPI(&hspi2, &pTxData[0], &ADC_1_Data_DB[0], 1); // read ADC
	  switch (sm)
	  {

	  	  case SET_SPAN_1:
	  		  SET_SPAN_DAC_1(cmd_value_1);
	  		  sm=0;
	  		  break;

	  	  case SET_OUTPUT_VOLTAGE_1:
	  		  SET_VOLT_DAC_1_bits(cmd_values);
	  		  sm=0;
	  		  break;

	  	  case SET_SPAN_2:
	  		  SET_SPAN_DAC_2(cmd_value_1);
	  		  sm=0;
	  		  break;

	  	  case SET_OUTPUT_VOLTAGE_2:
	  		SET_VOLT_DAC_2_bits(cmd_values);
	  		sm=0;
	  		break;

	  	  case READ_ADC1:
	  		  read_ADC_1(cmd_value_1);
	  		  //read_ADC_1(100);
	  		  sm=0;
	  		  break;

	  	  case TRANX_ADC_1_BUFFER:
	  		  tranx_ADC_1_buffer(0,cmd_value_1);

	  		  sm=0;
	  		  break;

	  	  case TRANX_PID_1_CTRL:
	  		tranx_PID_1_buffer(0, cmd_value_1);
	  		sm=START_PID;
	  		PID();
	  		  break;

	  	  case START_PID:
	  		  		PID();
				break;

	  	  case STOP_PID:
	  		  sm=0;
	  		  break;

	  	  case SET_P_1:
	  		  set_P(&cmd_value_1);
	  		  sm=0;
	  		  break;

	  	  case SET_I_1:
	  		  set_I(&cmd_value_1);
	  		  sm=0;
	  		  break;

	  	  case SET_D_1:
	  		  set_D(&cmd_value_1);
	  		  sm=0;
	  		  break;

	  	  case SET_SETPOINT_1:
	  		  set_setpoint1(&cmd_value_1);
	  		  sm=0;
	  		  break;

	  	case SET_SETPOINT_2:
			  set_setpoint2(&cmd_value_1);
			  sm=0;
			  break;

	  	  case TOGGLE_LEDS_TEST:
	  		  toggle_test(cmd_value_1+cmd_value_2*256);
	  		  sm=0;
	  		  break;

	  }
	}
	  //PID();
	  //derivative();
	  //dac_f=1.0;
		//dac_set = (dac_f*dac_conv);
		//dac_send = WriteCode_Update_A<<16|dac_set;
		//GPIOB->ODR ^= (1 );
		//HAL_SPI1_TransmitReceive_HM_fast(&hspi1, &dac_send, pRxData, 1);
	  //GPIOB->ODR ^= (1 );
	  //__HAL_TIM_GET_COUNTER(&htim16);
	  //GPIOB->ODR ^= (1 );
	  //derivative();
	  /*Check continous ADC reading*/
	  /*
	  for (i=0;i<=199;i++)
	  {
	  HAL_SPI2_TransmitReceive_HM_fast(&hspi2, &pTxData[0], &ADC_Data_DB[i], 1); // read ADC
	  }
	  GPIOB->ODR ^= (1 );
	  /*

	  GPIOB->ODR ^= (1 );
	  /*end PID cal */

    /* USER CODE END WHILE */

}

void SystemClock_Config(void)
{
  RCC_OscInitTypeDef RCC_OscInitStruct = {0};
  RCC_ClkInitTypeDef RCC_ClkInitStruct = {0};
  RCC_PeriphCLKInitTypeDef PeriphClkInitStruct = {0};

  /** Supply configuration update enable
  */
  HAL_PWREx_ConfigSupply(PWR_LDO_SUPPLY);
  /** Configure the main internal regulator output voltage
  */
  __HAL_PWR_VOLTAGESCALING_CONFIG(PWR_REGULATOR_VOLTAGE_SCALE1);

  while(!__HAL_PWR_GET_FLAG(PWR_FLAG_VOSRDY)) {}
  /** Initializes the RCC Oscillators according to the specified parameters
  * in the RCC_OscInitTypeDef structure.
  */
  RCC_OscInitStruct.OscillatorType = RCC_OSCILLATORTYPE_HSI48|RCC_OSCILLATORTYPE_HSI;
  RCC_OscInitStruct.HSIState = RCC_HSI_DIV1;
  RCC_OscInitStruct.HSICalibrationValue = RCC_HSICALIBRATION_DEFAULT;
  RCC_OscInitStruct.HSI48State = RCC_HSI48_ON;
  RCC_OscInitStruct.PLL.PLLState = RCC_PLL_ON;
  RCC_OscInitStruct.PLL.PLLSource = RCC_PLLSOURCE_HSI;
  RCC_OscInitStruct.PLL.PLLM = 4;
  RCC_OscInitStruct.PLL.PLLN = 50;
  RCC_OscInitStruct.PLL.PLLP = 2;
  RCC_OscInitStruct.PLL.PLLQ = 2;
  RCC_OscInitStruct.PLL.PLLR = 2;
  RCC_OscInitStruct.PLL.PLLRGE = RCC_PLL1VCIRANGE_3;
  RCC_OscInitStruct.PLL.PLLVCOSEL = RCC_PLL1VCOWIDE;
  RCC_OscInitStruct.PLL.PLLFRACN = 0;
  if (HAL_RCC_OscConfig(&RCC_OscInitStruct) != HAL_OK)
  {
    Error_Handler();
  }
  /** Initializes the CPU, AHB and APB buses clocks
  */
  RCC_ClkInitStruct.ClockType = RCC_CLOCKTYPE_HCLK|RCC_CLOCKTYPE_SYSCLK
                              |RCC_CLOCKTYPE_PCLK1|RCC_CLOCKTYPE_PCLK2
                              |RCC_CLOCKTYPE_D3PCLK1|RCC_CLOCKTYPE_D1PCLK1;
  RCC_ClkInitStruct.SYSCLKSource = RCC_SYSCLKSOURCE_PLLCLK;
  RCC_ClkInitStruct.SYSCLKDivider = RCC_SYSCLK_DIV1;
  RCC_ClkInitStruct.AHBCLKDivider = RCC_HCLK_DIV2;
  RCC_ClkInitStruct.APB3CLKDivider = RCC_APB3_DIV2;
  RCC_ClkInitStruct.APB1CLKDivider = RCC_APB1_DIV2;
  RCC_ClkInitStruct.APB2CLKDivider = RCC_APB2_DIV2;
  RCC_ClkInitStruct.APB4CLKDivider = RCC_APB4_DIV2;

  if (HAL_RCC_ClockConfig(&RCC_ClkInitStruct, FLASH_LATENCY_2) != HAL_OK)
  {
    Error_Handler();
  }
  PeriphClkInitStruct.PeriphClockSelection = RCC_PERIPHCLK_SPI4|RCC_PERIPHCLK_SPI3
                              |RCC_PERIPHCLK_SPI1|RCC_PERIPHCLK_SPI2
                              |RCC_PERIPHCLK_USB;
  PeriphClkInitStruct.Spi123ClockSelection = RCC_SPI123CLKSOURCE_PLL;
  PeriphClkInitStruct.Spi45ClockSelection = RCC_SPI45CLKSOURCE_D2PCLK1;
  PeriphClkInitStruct.UsbClockSelection = RCC_USBCLKSOURCE_HSI48;
  if (HAL_RCCEx_PeriphCLKConfig(&PeriphClkInitStruct) != HAL_OK)
  {
    Error_Handler();
  }
  /** Enable USB Voltage detector
  */
  HAL_PWREx_EnableUSBVoltageDetector();
}

static void MX_SPI1_Init(void)
{

  /* SPI1 parameter configuration*/
  hspi1.Instance = SPI1;
  hspi1.Init.Mode = SPI_MODE_MASTER;
  hspi1.Init.Direction = SPI_DIRECTION_2LINES;
  hspi1.Init.DataSize = SPI_DATASIZE_32BIT;
  hspi1.Init.CLKPolarity = SPI_POLARITY_LOW;
  hspi1.Init.CLKPhase = SPI_PHASE_1EDGE;
  hspi1.Init.NSS = SPI_NSS_SOFT;
  hspi1.Init.BaudRatePrescaler = SPI_BAUDRATEPRESCALER_16;
  hspi1.Init.FirstBit = SPI_FIRSTBIT_MSB;
  hspi1.Init.TIMode = SPI_TIMODE_DISABLE;
  hspi1.Init.CRCCalculation = SPI_CRCCALCULATION_DISABLE;
  hspi1.Init.CRCPolynomial = 0x0;
  hspi1.Init.NSSPMode = SPI_NSS_PULSE_ENABLE;
  hspi1.Init.NSSPolarity = SPI_NSS_POLARITY_LOW;
  hspi1.Init.FifoThreshold = SPI_FIFO_THRESHOLD_01DATA;
  hspi1.Init.TxCRCInitializationPattern = SPI_CRC_INITIALIZATION_ALL_ZERO_PATTERN;
  hspi1.Init.RxCRCInitializationPattern = SPI_CRC_INITIALIZATION_ALL_ZERO_PATTERN;
  hspi1.Init.MasterSSIdleness = SPI_MASTER_SS_IDLENESS_00CYCLE;
  hspi1.Init.MasterInterDataIdleness = SPI_MASTER_INTERDATA_IDLENESS_00CYCLE;
  hspi1.Init.MasterReceiverAutoSusp = SPI_MASTER_RX_AUTOSUSP_DISABLE;
  hspi1.Init.MasterKeepIOState = SPI_MASTER_KEEP_IO_STATE_DISABLE;
  hspi1.Init.IOSwap = SPI_IO_SWAP_DISABLE;
  if (HAL_SPI_Init(&hspi1) != HAL_OK)
  {
    Error_Handler();
  }

}

static void MX_SPI2_Init(void)
{

  /* SPI2 parameter configuration*/
  hspi2.Instance = SPI2;
  hspi2.Init.Mode = SPI_MODE_MASTER;
  hspi2.Init.Direction = SPI_DIRECTION_2LINES;
  hspi2.Init.DataSize = SPI_DATASIZE_24BIT;
  hspi2.Init.CLKPolarity = SPI_POLARITY_LOW;
  hspi2.Init.CLKPhase = SPI_PHASE_2EDGE;
  hspi2.Init.NSS = SPI_NSS_SOFT;
  hspi2.Init.BaudRatePrescaler = SPI_BAUDRATEPRESCALER_32;
  hspi2.Init.FirstBit = SPI_FIRSTBIT_MSB;
  hspi2.Init.TIMode = SPI_TIMODE_DISABLE;
  hspi2.Init.CRCCalculation = SPI_CRCCALCULATION_DISABLE;
  hspi2.Init.CRCPolynomial = 0x0;
  hspi2.Init.NSSPMode = SPI_NSS_PULSE_ENABLE;
  hspi2.Init.NSSPolarity = SPI_NSS_POLARITY_LOW;
  hspi2.Init.FifoThreshold = SPI_FIFO_THRESHOLD_01DATA;
  hspi2.Init.TxCRCInitializationPattern = SPI_CRC_INITIALIZATION_ALL_ZERO_PATTERN;
  hspi2.Init.RxCRCInitializationPattern = SPI_CRC_INITIALIZATION_ALL_ZERO_PATTERN;
  hspi2.Init.MasterSSIdleness = SPI_MASTER_SS_IDLENESS_00CYCLE;
  hspi2.Init.MasterInterDataIdleness = SPI_MASTER_INTERDATA_IDLENESS_00CYCLE;
  hspi2.Init.MasterReceiverAutoSusp = SPI_MASTER_RX_AUTOSUSP_DISABLE;
  hspi2.Init.MasterKeepIOState = SPI_MASTER_KEEP_IO_STATE_DISABLE;
  hspi2.Init.IOSwap = SPI_IO_SWAP_DISABLE;
  if (HAL_SPI_Init(&hspi2) != HAL_OK)
  {
    Error_Handler();
  }

}

static void MX_SPI3_Init(void)
{

  /* SPI3 parameter configuration*/
  hspi3.Instance = SPI3;
  hspi3.Init.Mode = SPI_MODE_MASTER;
  hspi3.Init.Direction = SPI_DIRECTION_2LINES;
  hspi3.Init.DataSize = SPI_DATASIZE_4BIT;
  hspi3.Init.CLKPolarity = SPI_POLARITY_LOW;
  hspi3.Init.CLKPhase = SPI_PHASE_1EDGE;
  hspi3.Init.NSS = SPI_NSS_SOFT;
  hspi3.Init.BaudRatePrescaler = SPI_BAUDRATEPRESCALER_8;
  hspi3.Init.FirstBit = SPI_FIRSTBIT_MSB;
  hspi3.Init.TIMode = SPI_TIMODE_DISABLE;
  hspi3.Init.CRCCalculation = SPI_CRCCALCULATION_DISABLE;
  hspi3.Init.CRCPolynomial = 0x0;
  hspi3.Init.NSSPMode = SPI_NSS_PULSE_ENABLE;
  hspi3.Init.NSSPolarity = SPI_NSS_POLARITY_LOW;
  hspi3.Init.FifoThreshold = SPI_FIFO_THRESHOLD_01DATA;
  hspi3.Init.TxCRCInitializationPattern = SPI_CRC_INITIALIZATION_ALL_ZERO_PATTERN;
  hspi3.Init.RxCRCInitializationPattern = SPI_CRC_INITIALIZATION_ALL_ZERO_PATTERN;
  hspi3.Init.MasterSSIdleness = SPI_MASTER_SS_IDLENESS_00CYCLE;
  hspi3.Init.MasterInterDataIdleness = SPI_MASTER_INTERDATA_IDLENESS_00CYCLE;
  hspi3.Init.MasterReceiverAutoSusp = SPI_MASTER_RX_AUTOSUSP_DISABLE;
  hspi3.Init.MasterKeepIOState = SPI_MASTER_KEEP_IO_STATE_DISABLE;
  hspi3.Init.IOSwap = SPI_IO_SWAP_DISABLE;
  if (HAL_SPI_Init(&hspi3) != HAL_OK)
  {
    Error_Handler();
  }

}

static void MX_SPI4_Init(void)
{

  /* SPI4 parameter configuration*/
  hspi4.Instance = SPI4;
  hspi4.Init.Mode = SPI_MODE_MASTER;
  hspi4.Init.Direction = SPI_DIRECTION_2LINES;
  hspi4.Init.DataSize = SPI_DATASIZE_8BIT;
  hspi4.Init.CLKPolarity = SPI_POLARITY_LOW;
  hspi4.Init.CLKPhase = SPI_PHASE_1EDGE;
  hspi4.Init.NSS = SPI_NSS_SOFT;
  hspi4.Init.BaudRatePrescaler = SPI_BAUDRATEPRESCALER_2;
  hspi4.Init.FirstBit = SPI_FIRSTBIT_MSB;
  hspi4.Init.TIMode = SPI_TIMODE_DISABLE;
  hspi4.Init.CRCCalculation = SPI_CRCCALCULATION_DISABLE;
  hspi4.Init.CRCPolynomial = 0x0;
  hspi4.Init.NSSPMode = SPI_NSS_PULSE_ENABLE;
  hspi4.Init.NSSPolarity = SPI_NSS_POLARITY_LOW;
  hspi4.Init.FifoThreshold = SPI_FIFO_THRESHOLD_01DATA;
  hspi4.Init.TxCRCInitializationPattern = SPI_CRC_INITIALIZATION_ALL_ZERO_PATTERN;
  hspi4.Init.RxCRCInitializationPattern = SPI_CRC_INITIALIZATION_ALL_ZERO_PATTERN;
  hspi4.Init.MasterSSIdleness = SPI_MASTER_SS_IDLENESS_00CYCLE;
  hspi4.Init.MasterInterDataIdleness = SPI_MASTER_INTERDATA_IDLENESS_00CYCLE;
  hspi4.Init.MasterReceiverAutoSusp = SPI_MASTER_RX_AUTOSUSP_DISABLE;
  hspi4.Init.MasterKeepIOState = SPI_MASTER_KEEP_IO_STATE_DISABLE;
  hspi4.Init.IOSwap = SPI_IO_SWAP_DISABLE;
  if (HAL_SPI_Init(&hspi4) != HAL_OK)
  {
    Error_Handler();
  }

}

static void MX_TIM1_Init(void)
{

  TIM_ClockConfigTypeDef sClockSourceConfig = {0};
  TIM_MasterConfigTypeDef sMasterConfig = {0};

  htim1.Instance = TIM1;
  htim1.Init.Prescaler = 0;
  htim1.Init.CounterMode = TIM_COUNTERMODE_UP;
  htim1.Init.Period = 65535;
  htim1.Init.ClockDivision = TIM_CLOCKDIVISION_DIV1;
  htim1.Init.RepetitionCounter = 0;
  htim1.Init.AutoReloadPreload = TIM_AUTORELOAD_PRELOAD_DISABLE;
  if (HAL_TIM_Base_Init(&htim1) != HAL_OK)
  {
    Error_Handler();
  }
  sClockSourceConfig.ClockSource = TIM_CLOCKSOURCE_INTERNAL;
  if (HAL_TIM_ConfigClockSource(&htim1, &sClockSourceConfig) != HAL_OK)
  {
    Error_Handler();
  }
  sMasterConfig.MasterOutputTrigger = TIM_TRGO_RESET;
  sMasterConfig.MasterOutputTrigger2 = TIM_TRGO2_RESET;
  sMasterConfig.MasterSlaveMode = TIM_MASTERSLAVEMODE_DISABLE;
  if (HAL_TIMEx_MasterConfigSynchronization(&htim1, &sMasterConfig) != HAL_OK)
  {
    Error_Handler();
  }

}

static void MX_TIM16_Init(void)
{

  htim16.Instance = TIM16;
  htim16.Init.Prescaler = 0;
  htim16.Init.CounterMode = TIM_COUNTERMODE_UP;
  htim16.Init.Period = 2000;
  htim16.Init.ClockDivision = TIM_CLOCKDIVISION_DIV1;
  htim16.Init.RepetitionCounter = 0;
  htim16.Init.AutoReloadPreload = TIM_AUTORELOAD_PRELOAD_DISABLE;
  if (HAL_TIM_Base_Init(&htim16) != HAL_OK)
  {
    Error_Handler();
  }

}

static void MX_GPIO_Init(void)
{
  GPIO_InitTypeDef GPIO_InitStruct = {0};

  /* GPIO Ports Clock Enable */
  __HAL_RCC_GPIOE_CLK_ENABLE();
  __HAL_RCC_GPIOH_CLK_ENABLE();
  __HAL_RCC_GPIOC_CLK_ENABLE();
  __HAL_RCC_GPIOA_CLK_ENABLE();
  __HAL_RCC_GPIOB_CLK_ENABLE();
  __HAL_RCC_GPIOD_CLK_ENABLE();

  /*Configure GPIO pin Output Level */
  HAL_GPIO_WritePin(GPIOE, GPIO_PIN_3|SPI4_CS_Pin|SPI2_RESET_Pin|SPI2_CS_Pin, GPIO_PIN_RESET);

  /*Configure GPIO pin Output Level */
  HAL_GPIO_WritePin(GPIOB, test_sig_Pin|GPIO_PIN_14, GPIO_PIN_RESET);

  /*Configure GPIO pin Output Level */
  HAL_GPIO_WritePin(GPIOD, SPI1_CS_Pin|SPI1_RESET_Pin|SPI3_RST_Pin, GPIO_PIN_RESET);

  /*Configure GPIO pin Output Level */
  HAL_GPIO_WritePin(SPI3_CS_GPIO_Port, SPI3_CS_Pin, GPIO_PIN_RESET);

  /*Configure GPIO pins : PE3 SPI4_CS_Pin SPI2_RESET_Pin */
  GPIO_InitStruct.Pin = GPIO_PIN_3|SPI4_CS_Pin|SPI2_RESET_Pin;
  GPIO_InitStruct.Mode = GPIO_MODE_OUTPUT_PP;
  GPIO_InitStruct.Pull = GPIO_NOPULL;
  GPIO_InitStruct.Speed = GPIO_SPEED_FREQ_LOW;
  HAL_GPIO_Init(GPIOE, &GPIO_InitStruct);

  /*Configure GPIO pin : test_sig_Pin */
  GPIO_InitStruct.Pin = test_sig_Pin;
  GPIO_InitStruct.Mode = GPIO_MODE_OUTPUT_PP;
  GPIO_InitStruct.Pull = GPIO_NOPULL;
  GPIO_InitStruct.Speed = GPIO_SPEED_FREQ_VERY_HIGH;
  HAL_GPIO_Init(test_sig_GPIO_Port, &GPIO_InitStruct);

  /*Configure GPIO pin : SPI2_CS_Pin */
  GPIO_InitStruct.Pin = SPI2_CS_Pin;
  GPIO_InitStruct.Mode = GPIO_MODE_OUTPUT_PP;
  GPIO_InitStruct.Pull = GPIO_NOPULL;
  GPIO_InitStruct.Speed = GPIO_SPEED_FREQ_VERY_HIGH;
  HAL_GPIO_Init(SPI2_CS_GPIO_Port, &GPIO_InitStruct);

  /*Configure GPIO pin : PB14 */
  GPIO_InitStruct.Pin = GPIO_PIN_14;
  GPIO_InitStruct.Mode = GPIO_MODE_OUTPUT_PP;
  GPIO_InitStruct.Pull = GPIO_NOPULL;
  GPIO_InitStruct.Speed = GPIO_SPEED_FREQ_LOW;
  HAL_GPIO_Init(GPIOB, &GPIO_InitStruct);

  /*Configure GPIO pin : SPI1_CS_Pin */
  GPIO_InitStruct.Pin = SPI1_CS_Pin;
  GPIO_InitStruct.Mode = GPIO_MODE_OUTPUT_PP;
  GPIO_InitStruct.Pull = GPIO_NOPULL;
  GPIO_InitStruct.Speed = GPIO_SPEED_FREQ_VERY_HIGH;
  HAL_GPIO_Init(SPI1_CS_GPIO_Port, &GPIO_InitStruct);

  /*Configure GPIO pins : SPI1_RESET_Pin SPI3_RST_Pin */
  GPIO_InitStruct.Pin = SPI1_RESET_Pin|SPI3_RST_Pin;
  GPIO_InitStruct.Mode = GPIO_MODE_OUTPUT_PP;
  GPIO_InitStruct.Pull = GPIO_NOPULL;
  GPIO_InitStruct.Speed = GPIO_SPEED_FREQ_LOW;
  HAL_GPIO_Init(GPIOD, &GPIO_InitStruct);

  /*Configure GPIO pin : SPI3_CS_Pin */
  GPIO_InitStruct.Pin = SPI3_CS_Pin;
  GPIO_InitStruct.Mode = GPIO_MODE_OUTPUT_PP;
  GPIO_InitStruct.Pull = GPIO_NOPULL;
  GPIO_InitStruct.Speed = GPIO_SPEED_FREQ_LOW;
  HAL_GPIO_Init(SPI3_CS_GPIO_Port, &GPIO_InitStruct);

}

/* USER CODE BEGIN 4 */
void HAL_TIM_PeriodElapsedCallback(TIM_HandleTypeDef *htim)
{
  // Check which version of the timer triggered this callback and toggle LED
  if (htim == &htim16 )
  {
	  timer_mark=1;
	  //GPIOB->ODR ^= (1);
  }
}
/* USER CODE END 4 */

void Error_Handler(void)
{
}

/************************ (C) COPYRIGHT STMicroelectronics *****END OF FILE****/
